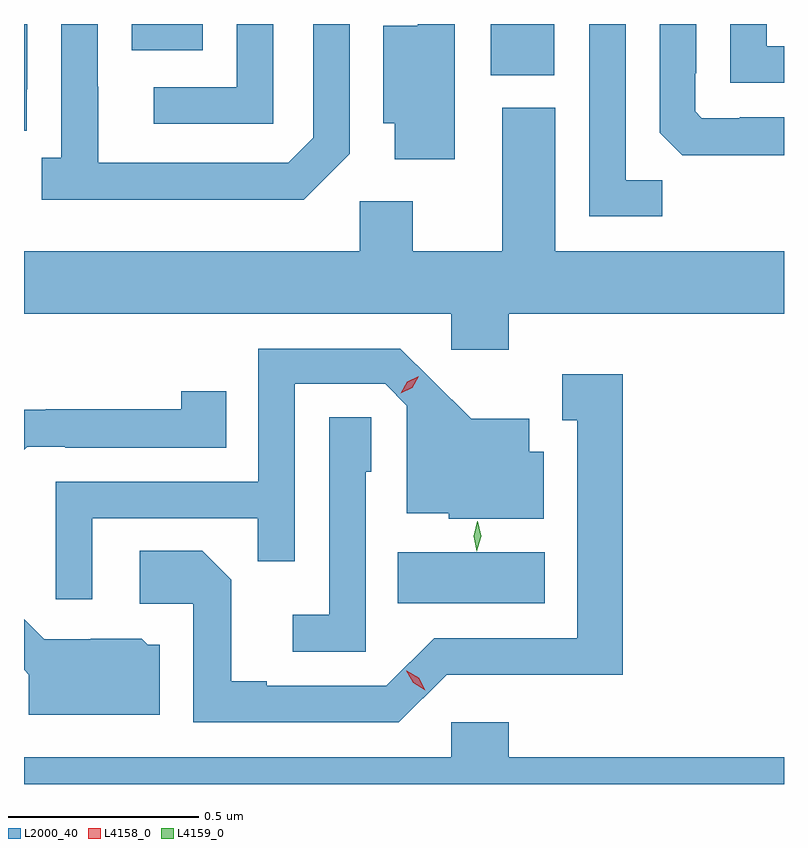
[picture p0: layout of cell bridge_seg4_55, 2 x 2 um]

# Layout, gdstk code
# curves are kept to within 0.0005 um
import gdstk
lib = gdstk.Library(unit=1e-6, precision=1e-09)
def R(c, l, rs):  # rectangles x0, y0, x1, y1
    for r in rs: c.add(gdstk.rectangle(r[:2], r[2:], *l))
def P(c, l, *ps):  # polygons
    for p in ps: c.add(gdstk.Polygon(p, *l))
L2000_40 = (2000, 40)
L4158_0 = (4158, 0)
L4159_0 = (4159, 0)

bridge_seg4_55 = lib.new_cell('bridge_seg4_55')
R(bridge_seg4_55, L2000_40, [(649.744,798.722,650.131,798.856), (649.988,800.111,650.155,800.246), (649.043,800.177,649.231,800.246)])
P(bridge_seg4_55, L2000_40, [(650.76,800.001),(650.644,800.001),(650.644,799.998),(650.544,799.998),(650.526,800.016),(650.526,800.116),(650.529,800.116),(650.529,800.246),(650.433,800.246),(650.433,799.96),(650.492,799.901),(650.593,799.901),(650.593,799.9),(650.76,799.9)],
  [(650.76,800.187),(650.715,800.187),(650.715,800.246),(650.619,800.246),(650.619,800.091),(650.76,800.091)],
  [(648.767,800.074),(648.768,800.074),(648.768,800.246),(648.76,800.246),(648.76,799.965),(648.767,799.965)],
  [(649.894,800.121),(649.893,800.121),(649.893,800.246),(649.796,800.246),(649.796,800.242),(649.706,800.242),(649.706,799.985),(649.736,799.985),(649.736,799.89),(649.894,799.89)],
  [(649.416,800.246),(649.32,800.246),(649.32,800.079),(649.101,800.079),(649.101,799.983),(649.416,799.983)],
  [(650.439,799.835),(650.343,799.835),(650.343,800.246),(650.247,800.246),(650.247,799.74),(650.439,799.74)],
  [(649.617,799.905),(649.617,800.246),(649.521,800.246),(649.521,799.947),(649.455,799.881),(648.955,799.881),(648.955,800.081),(648.954,800.081),(648.954,800.246),(648.858,800.246),(648.858,799.894),(648.807,799.894),(648.807,799.784),(649.496,799.784)],
  [(650.018,800.026),(650.018,799.648),(649.783,799.648),(649.783,799.78),(649.644,799.78),(649.644,799.648),(648.76,799.648),(648.76,799.484),(649.884,799.484),(649.884,799.389),(650.036,799.389),(650.036,799.484),(650.76,799.484),(650.76,799.648),(650.158,799.648),(650.158,800.026)],
  [(648.939,798.945),(649.375,798.945),(649.375,798.832),(649.473,798.832),(649.473,799.299),(649.71,799.299),(649.767,799.242),(649.767,798.959),(649.878,798.959),(649.878,798.944),(650.128,798.944),(650.128,799.12),(650.089,799.12),(650.089,799.207),(649.937,799.207),(649.75,799.392),(649.377,799.392),(649.377,799.041),(648.843,799.041),(648.843,798.732),(648.939,798.732)],
  [(649.872,798.534),(650.094,798.534),(650.094,798.533),(650.335,798.533),(650.335,799.324),(650.177,799.324),(650.177,799.203),(650.216,799.203),(650.216,798.63),(649.839,798.63),(649.713,798.504),(649.399,798.504),(649.399,798.517),(649.305,798.517),(649.305,798.784),(649.229,798.86),(649.065,798.86),(649.065,798.72),(649.206,798.72),(649.206,798.408),(649.746,798.408)],
  [(648.768,799.134),(648.868,799.134),(648.868,799.131),(649.292,799.131),(649.292,799.279),(649.174,799.279),(649.174,799.232),(648.817,799.232),(648.817,799.231),(648.76,799.231),(648.76,799.126)],
  [(649.659,799.068),(649.674,799.068),(649.674,799.211),(649.563,799.211),(649.563,798.691),(649.467,798.691),(649.467,798.594),(649.659,798.594)],
  [(649.117,798.612),(649.086,798.612),(649.07,798.628),(648.936,798.628),(648.936,798.627),(648.813,798.627),(648.76,798.68),(648.76,798.547),(648.773,798.534),(648.773,798.428),(649.117,798.428)],
  [(650.76,798.316),(650.036,798.316),(650.036,798.409),(649.884,798.409),(649.884,798.316),(648.76,798.316),(648.76,798.246),(650.76,798.246)])
P(bridge_seg4_55, L4158_0, [(649.816,798.493),(649.784,798.512),(649.766,798.544),(649.766,798.544),(649.767,798.544),(649.799,798.526),(649.816,798.493),(649.816,798.493)],
  [(649.752,799.274),(649.752,799.274),(649.769,799.304),(649.799,799.319),(649.799,799.319),(649.799,799.319),(649.782,799.289),(649.752,799.274)])
P(bridge_seg4_55, L4159_0, [(649.952,798.858),(649.952,798.859),(649.943,798.898),(649.953,798.938),(649.953,798.938),(649.954,798.938),(649.963,798.898),(649.952,798.859)])

lib.write_gds('bridge_seg4_55.gds')
